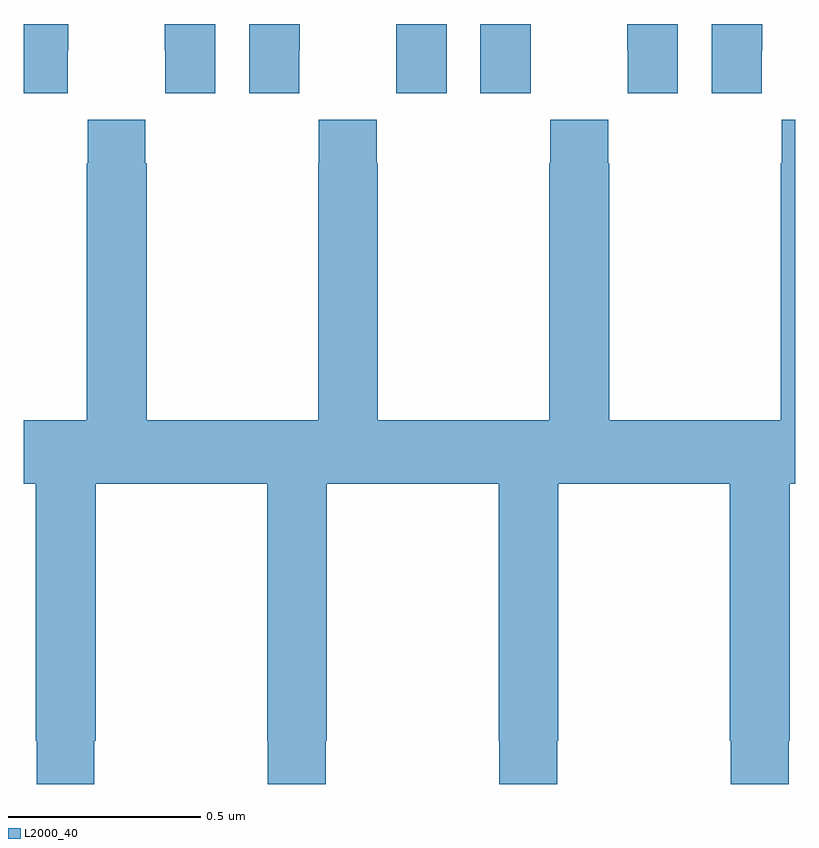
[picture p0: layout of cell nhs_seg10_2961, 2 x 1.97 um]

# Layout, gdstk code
import gdstk
lib = gdstk.Library(unit=1e-6, precision=1e-09)
def P(c, l, *ps):  # polygons
    for p in ps: c.add(gdstk.Polygon(p, *l))
L2000_40 = (2000, 40)

nhs_seg10_2961 = lib.new_cell('nhs_seg10_2961')
P(nhs_seg10_2961, L2000_40, [(147,1309.32),(147.114,1309.32),(147.114,1309.432),(147.115,1309.432),(147.115,1309.5),(147,1309.5)],
  [(147.496,1309.5),(147.365,1309.5),(147.365,1309.432),(147.366,1309.432),(147.366,1309.32),(147.496,1309.32)],
  [(147.714,1309.432),(147.715,1309.432),(147.715,1309.5),(147.584,1309.5),(147.584,1309.32),(147.714,1309.32)],
  [(148.096,1309.5),(147.965,1309.5),(147.965,1309.432),(147.966,1309.432),(147.966,1309.32),(148.096,1309.32)],
  [(148.314,1309.432),(148.315,1309.432),(148.315,1309.5),(148.184,1309.5),(148.184,1309.32),(148.314,1309.32)],
  [(148.696,1309.5),(148.565,1309.5),(148.565,1309.432),(148.566,1309.432),(148.566,1309.32),(148.696,1309.32)],
  [(148.914,1309.432),(148.915,1309.432),(148.915,1309.5),(148.784,1309.5),(148.784,1309.32),(148.914,1309.32)],
  [(147.765,1309.252),(147.765,1309.139),(147.763,1309.139),(147.763,1308.472),(147.318,1308.472),(147.318,1309.139),(147.315,1309.139),(147.315,1309.252),(147.165,1309.252),(147.165,1309.139),(147.163,1309.139),(147.163,1308.472),(147,1308.472),(147,1308.308),(147.031,1308.308),(147.031,1307.641),(147.033,1307.641),(147.033,1307.529),(147.183,1307.529),(147.183,1307.641),(147.186,1307.641),(147.186,1308.308),(147.631,1308.308),(147.631,1307.641),(147.633,1307.641),(147.633,1307.529),(147.783,1307.529),(147.783,1307.641),(147.786,1307.641),(147.786,1308.308),(148.231,1308.308),(148.231,1307.641),(148.233,1307.641),(148.233,1307.529),(148.383,1307.529),(148.383,1307.641),(148.386,1307.641),(148.386,1308.308),(148.831,1308.308),(148.831,1307.641),(148.833,1307.641),(148.833,1307.529),(148.983,1307.529),(148.983,1307.641),(148.986,1307.641),(148.986,1308.308),(149,1308.308),(149,1309.252),(148.965,1309.252),(148.965,1309.139),(148.963,1309.139),(148.963,1308.472),(148.518,1308.472),(148.518,1309.139),(148.515,1309.139),(148.515,1309.252),(148.365,1309.252),(148.365,1309.139),(148.363,1309.139),(148.363,1308.472),(147.918,1308.472),(147.918,1309.139),(147.915,1309.139),(147.915,1309.252)])

lib.write_gds('nhs_seg10_2961.gds')
